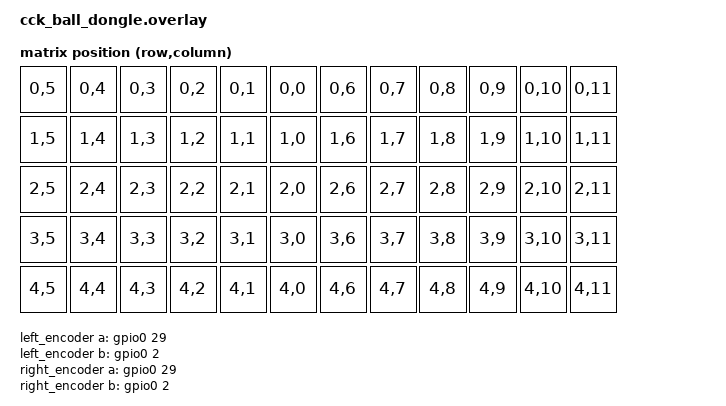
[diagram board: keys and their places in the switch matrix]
#include <dt-bindings/zmk/matrix_transform.h>
#include "cck_ball-layouts.dtsi"

/ {
	chosen {
		zmk,kscan = &mock_kscan;
		zmk,physical-layouts = &cck_ball_layouts;
		zephyr,display = &oled;
	};

	mock_kscan: mock_kscan_0 {
		compatible = "zmk,kscan-mock";
		columns = <0>;
		rows = <0>;
		events = <0>;
	};

	default_transform: keymap_transform_0 {
		compatible = "zmk,matrix-transform";
		columns = <12>;
		rows = <5>;
		map = <
RC(0,5) RC(0,4) RC(0,3) RC(0,2) RC(0,1) RC(0,0) RC(0,6) RC(0,7) RC(0,8) RC(0,9) RC(0,10) RC(0,11)
RC(1,5) RC(1,4) RC(1,3) RC(1,2) RC(1,1) RC(1,0) RC(1,6) RC(1,7) RC(1,8) RC(1,9) RC(1,10) RC(1,11)
RC(2,5) RC(2,4) RC(2,3) RC(2,2) RC(2,1) RC(2,0) RC(2,6) RC(2,7) RC(2,8) RC(2,9) RC(2,10) RC(2,11)
RC(3,5) RC(3,4) RC(3,3) RC(3,2) RC(3,1) RC(3,0) RC(3,6) RC(3,7) RC(3,8) RC(3,9) RC(3,10) RC(3,11)
RC(4,5) RC(4,4) RC(4,3) RC(4,2) RC(4,1) RC(4,0) RC(4,6) RC(4,7) RC(4,8) RC(4,9) RC(4,10) RC(4,11)
		>;
	};

	/* encoders: 実体は左右のキーボード側。ここでは宣言だけ（disabled） */
	left_encoder: encoder_left {
		compatible = "alps,ec11";
		status = "disabled";
		label = "LEFT_ENCODER";
		a-gpios = <&gpio0 29 (GPIO_ACTIVE_HIGH | GPIO_PULL_UP)>;
		b-gpios = <&gpio0 2 (GPIO_ACTIVE_HIGH | GPIO_PULL_UP)>;
		steps = <24>;
		pulses-per-detent = <2>;
	};

	right_encoder: encoder_right {
		compatible = "alps,ec11";
		status = "disabled";
		label = "RIGHT_ENCODER";
		a-gpios = <&gpio0 29 (GPIO_ACTIVE_HIGH | GPIO_PULL_UP)>;
		b-gpios = <&gpio0 2 (GPIO_ACTIVE_HIGH | GPIO_PULL_UP)>;
		steps = <24>;
		pulses-per-detent = <2>;
	};

	sensors {
		compatible = "zmk,keymap-sensors";
		sensors = <&left_encoder &right_encoder>;
		triggers-per-rotation = <24>;
	};

	/* trackball: 右側から転送されてくる入力を受け取る */
	split_inputs {
		#address-cells = <1>;
		#size-cells = <0>;

		trackball_split: trackball_split@0 {
			compatible = "zmk,input-split";
			reg = <0>;
		};
	};

	trackball_listener: trackball_listener {
		compatible = "zmk,input-listener";
		device = <&trackball_split>;

		scroll {
			layers = <3>;
			input-processors = <&zip_xy_to_scroll_mapper>;
		};

		snipe {
			layers = <4>;
			input-processors = <&zip_xy_scaler 1 2>;
		};
	};
};

&pro_micro_i2c {
	status = "okay";

	oled: oled@3c {
		compatible = "sinowealth,sh1106";
		reg = <0x3c>;
		width = <128>;
		height = <64>;
		segment-offset = <2>;
		page-offset = <0>;
		display-offset = <0>;
		multiplex-ratio = <63>;
		segment-remap;
		com-invdir;
		prechargep = <0x22>;
	};
};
